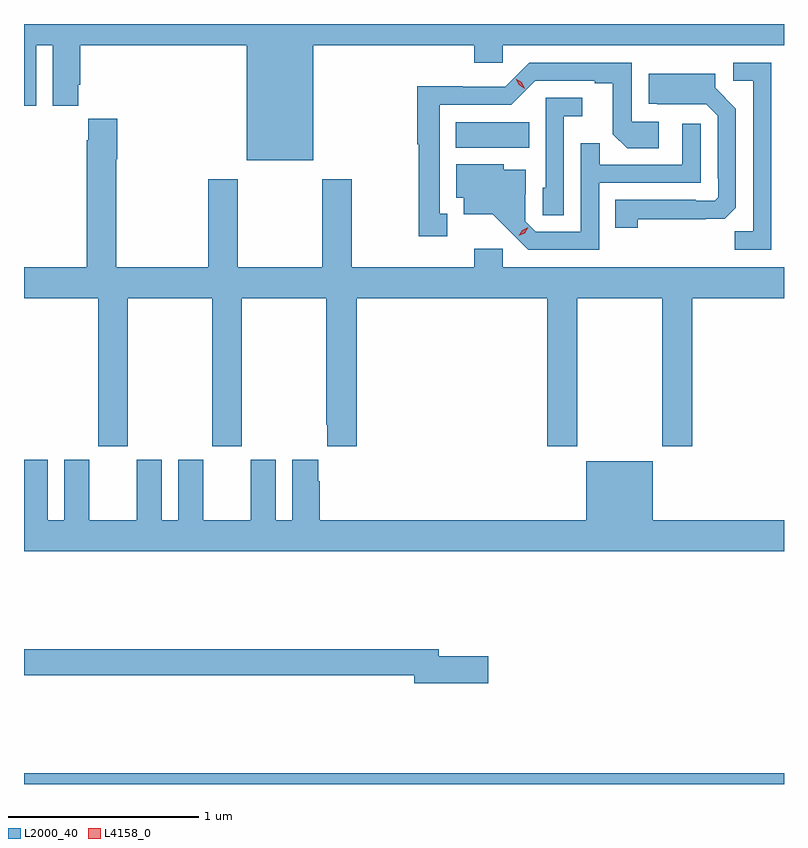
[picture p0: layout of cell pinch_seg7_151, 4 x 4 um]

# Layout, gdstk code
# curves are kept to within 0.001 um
import gdstk
lib = gdstk.Library(unit=1e-6, precision=1e-09)
def R(c, l, rs):  # rectangles x0, y0, x1, y1
    for r in rs: c.add(gdstk.rectangle(r[:2], r[2:], *l))
def P(c, l, *ps):  # polygons
    for p in ps: c.add(gdstk.Polygon(p, *l))
L2000_40 = (2000, 40)
L4158_0 = (4158, 0)

pinch_seg7_151 = lib.new_cell('pinch_seg7_151')
R(pinch_seg7_151, L2000_40, [(1041.744,1023.367,1045.744,1023.424), (1044.017,1026.716,1044.404,1026.85)])
P(pinch_seg7_151, L2000_40, [(1043.266,1027.256),(1044.113,1027.256),(1044.113,1027.163),(1044.264,1027.163),(1044.264,1027.256),(1045.744,1027.256),(1045.744,1027.367),(1041.744,1027.367),(1041.744,1026.936),(1041.808,1026.936),(1041.808,1027.256),(1041.896,1027.256),(1041.896,1026.936),(1042.03,1026.936),(1042.03,1027.048),(1042.04,1027.048),(1042.04,1027.256),(1042.916,1027.256),(1042.916,1026.65),(1043.266,1026.65)],
  [(1045.677,1027.164),(1045.478,1027.164),(1045.478,1027.068),(1045.581,1027.068),(1045.581,1026.275),(1045.486,1026.275),(1045.486,1026.18),(1045.677,1026.18)],
  [(1043.971,1026.369),(1043.932,1026.369),(1043.932,1026.942),(1044.309,1026.942),(1044.435,1027.068),(1044.749,1027.068),(1044.749,1027.055),(1044.843,1027.055),(1044.843,1026.788),(1044.919,1026.712),(1045.084,1026.712),(1045.084,1026.852),(1044.942,1026.852),(1044.942,1027.164),(1044.402,1027.164),(1044.276,1027.038),(1044.054,1027.038),(1044.054,1027.04),(1043.814,1027.04),(1043.814,1026.735),(1043.821,1026.735),(1043.821,1026.249),(1043.971,1026.249)],
  [(1044.975,1026.34),(1045.432,1026.341),(1045.491,1026.4),(1045.491,1026.922),(1045.381,1027.032),(1045.381,1027.105),(1045.031,1027.105),(1045.031,1026.947),(1045.075,1026.947),(1045.078,1026.944),(1045.335,1026.945),(1045.395,1026.885),(1045.395,1026.556),(1045.398,1026.556),(1045.398,1026.456),(1045.38,1026.438),(1045.28,1026.438),(1045.28,1026.441),(1044.856,1026.441),(1044.856,1026.294),(1044.975,1026.294)],
  [(1044.585,1026.881),(1044.682,1026.881),(1044.682,1026.978),(1044.489,1026.978),(1044.489,1026.504),(1044.474,1026.504),(1044.474,1026.361),(1044.585,1026.361)],
  [(1042.29,1025.924),(1042.735,1025.924),(1042.735,1025.145),(1042.89,1025.145),(1042.89,1025.924),(1043.335,1025.924),(1043.335,1025.257),(1043.339,1025.257),(1043.339,1025.145),(1043.495,1025.145),(1043.495,1025.924),(1044.497,1025.924),(1044.497,1025.145),(1044.657,1025.145),(1044.657,1025.924),(1045.102,1025.924),(1045.102,1025.145),(1045.262,1025.145),(1045.262,1025.924),(1045.744,1025.924),(1045.744,1026.088),(1044.264,1026.088),(1044.264,1026.184),(1044.113,1026.184),(1044.113,1026.088),(1043.469,1026.088),(1043.469,1026.55),(1043.314,1026.55),(1043.314,1026.088),(1042.869,1026.088),(1042.869,1026.55),(1042.714,1026.55),(1042.714,1026.088),(1042.23,1026.088),(1042.23,1026.655),(1042.235,1026.655),(1042.235,1026.868),(1042.081,1026.868),(1042.081,1026.755),(1042.075,1026.755),(1042.075,1026.088),(1041.744,1026.088),(1041.744,1025.924),(1042.135,1025.924),(1042.135,1025.145),(1042.29,1025.145)],
  [(1044.771,1026.531),(1045.305,1026.531),(1045.305,1026.841),(1045.209,1026.841),(1045.209,1026.627),(1044.773,1026.627),(1044.773,1026.74),(1044.675,1026.74),(1044.675,1026.273),(1044.438,1026.273),(1044.381,1026.33),(1044.381,1026.472),(1044.385,1026.472),(1044.385,1026.601),(1044.27,1026.601),(1044.27,1026.628),(1044.02,1026.628),(1044.02,1026.452),(1044.059,1026.452),(1044.059,1026.365),(1044.211,1026.365),(1044.398,1026.18),(1044.771,1026.18)],
  [(1045.744,1024.756),(1045.054,1024.756),(1045.054,1025.065),(1044.704,1025.065),(1044.704,1024.756),(1043.3,1024.756),(1043.3,1024.961),(1043.293,1024.961),(1043.293,1025.074),(1043.156,1025.074),(1043.156,1024.756),(1043.068,1024.756),(1043.068,1025.074),(1042.937,1025.074),(1042.937,1024.756),(1042.687,1024.756),(1042.687,1025.074),(1042.556,1025.074),(1042.556,1024.756),(1042.468,1024.756),(1042.468,1025.074),(1042.337,1025.074),(1042.337,1024.756),(1042.087,1024.756),(1042.087,1025.074),(1041.956,1025.074),(1041.956,1024.756),(1041.868,1024.756),(1041.868,1025.074),(1041.744,1025.074),(1041.744,1024.592),(1045.744,1024.592)],
  [(1044.187,1024.04),(1043.926,1024.04),(1043.926,1024.076),(1041.744,1024.076),(1041.744,1023.94),(1043.798,1023.94),(1043.798,1023.898),(1044.187,1023.898)])
P(pinch_seg7_151, L4158_0, [(1044.38,1027.027),(1044.348,1027.046),(1044.331,1027.079),(1044.331,1027.079),(1044.332,1027.079),(1044.363,1027.06),(1044.38,1027.027),(1044.38,1027.027)],
  [(1044.349,1026.252),(1044.349,1026.252),(1044.366,1026.282),(1044.397,1026.297),(1044.398,1026.297),(1044.398,1026.297),(1044.38,1026.267),(1044.349,1026.252)])

lib.write_gds('pinch_seg7_151.gds')
